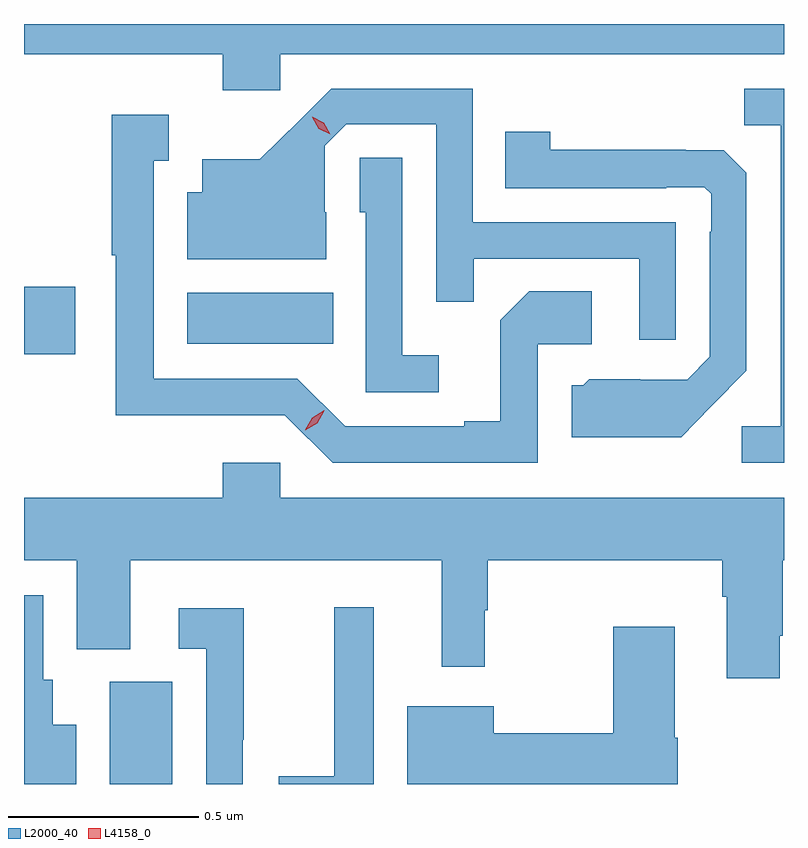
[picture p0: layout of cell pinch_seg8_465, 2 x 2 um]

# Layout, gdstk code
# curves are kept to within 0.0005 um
import gdstk
lib = gdstk.Library(unit=1e-6, precision=1e-09)
def R(c, l, rs):  # rectangles x0, y0, x1, y1
    for r in rs: c.add(gdstk.rectangle(r[:2], r[2:], *l))
def P(c, l, *ps):  # polygons
    for p in ps: c.add(gdstk.Polygon(p, *l))
L2000_40 = (2000, 40)
L4158_0 = (4158, 0)

pinch_seg8_465 = lib.new_cell('pinch_seg8_465')
R(pinch_seg8_465, L2000_40, [(198.44,1138.555,198.604,1138.824), (198.214,1139.686,198.349,1139.864), (198.644,1139.714,199.028,1139.848)])
P(pinch_seg8_465, L2000_40, [(198.888,1140.476),(200.214,1140.476),(200.214,1140.555),(198.214,1140.555),(198.214,1140.476),(198.737,1140.476),(198.737,1140.381),(198.888,1140.381)],
  [(199.929,1140.033),(199.395,1140.033),(199.395,1140.384),(199.022,1140.384),(198.835,1140.199),(198.683,1140.199),(198.683,1140.112),(198.644,1140.112),(198.644,1139.936),(199.009,1139.936),(199.009,1140.06),(199.005,1140.06),(199.005,1140.234),(199.062,1140.291),(199.299,1140.291),(199.299,1139.824),(199.397,1139.824),(199.397,1139.937),(199.833,1139.937),(199.833,1139.724),(199.929,1139.724)],
  [(200.214,1140.384),(200.11,1140.384),(200.11,1140.289),(200.205,1140.289),(200.205,1139.496),(200.103,1139.496),(200.103,1139.4),(200.214,1139.4)],
  [(199.566,1139.712),(199.708,1139.712),(199.708,1139.852),(199.543,1139.852),(199.467,1139.776),(199.467,1139.509),(199.373,1139.509),(199.373,1139.496),(199.059,1139.496),(198.933,1139.622),(198.556,1139.622),(198.556,1140.195),(198.595,1140.195),(198.595,1140.316),(198.445,1140.316),(198.445,1139.947),(198.455,1139.947),(198.455,1139.525),(198.678,1139.525),(198.678,1139.526),(198.9,1139.526),(199.026,1139.4),(199.566,1139.4)],
  [(200.023,1139.549),(200.115,1139.642),(200.115,1140.164),(200.056,1140.223),(199.955,1140.223),(199.955,1140.224),(199.599,1140.224),(199.599,1140.271),(199.48,1140.271),(199.48,1140.123),(199.904,1140.123),(199.904,1140.126),(200.004,1140.126),(200.022,1140.108),(200.022,1140.008),(200.019,1140.008),(200.019,1139.679),(199.959,1139.619),(199.836,1139.619),(199.836,1139.62),(199.702,1139.62),(199.686,1139.604),(199.655,1139.604),(199.655,1139.468),(199.943,1139.468)],
  [(199.306,1139.683),(199.209,1139.683),(199.209,1140.203),(199.098,1140.203),(199.098,1140.06),(199.113,1140.06),(199.113,1139.586),(199.306,1139.586)],
  [(200.203,1138.945),(200.211,1138.945),(200.211,1139.144),(200.214,1139.144),(200.214,1139.308),(198.888,1139.308),(198.888,1139.401),(198.737,1139.401),(198.737,1139.308),(198.214,1139.308),(198.214,1139.144),(198.353,1139.144),(198.353,1138.909),(198.493,1138.909),(198.493,1139.144),(199.313,1139.144),(199.313,1138.863),(199.427,1138.863),(199.427,1139.012),(199.435,1139.012),(199.435,1139.144),(200.051,1139.144),(200.051,1139.048),(200.063,1139.048),(200.063,1138.833),(200.203,1138.833)],
  [(198.352,1138.711),(198.289,1138.711),(198.289,1138.83),(198.264,1138.83),(198.264,1139.052),(198.214,1139.052),(198.214,1138.555),(198.352,1138.555)],
  [(199.135,1139.02),(199.031,1139.02),(199.031,1138.576),(198.884,1138.576),(198.884,1138.555),(199.135,1138.555)],
  [(198.789,1138.672),(198.792,1138.672),(198.792,1139.017),(198.621,1139.017),(198.621,1138.911),(198.693,1138.911),(198.693,1138.555),(198.789,1138.555)],
  [(199.935,1138.677),(199.927,1138.677),(199.927,1138.969),(199.765,1138.969),(199.765,1138.689),(199.45,1138.689),(199.45,1138.759),(199.223,1138.759),(199.223,1138.555),(199.935,1138.555)])
P(pinch_seg8_465, L4158_0, [(199.02,1140.265),(198.989,1140.28),(198.972,1140.31),(198.972,1140.311),(198.972,1140.311),(199.003,1140.295),(199.02,1140.265),(199.02,1140.265)],
  [(198.954,1139.486),(198.954,1139.487),(198.972,1139.519),(199.004,1139.538),(199.004,1139.538),(199.004,1139.537),(198.986,1139.505),(198.954,1139.486)])

lib.write_gds('pinch_seg8_465.gds')
